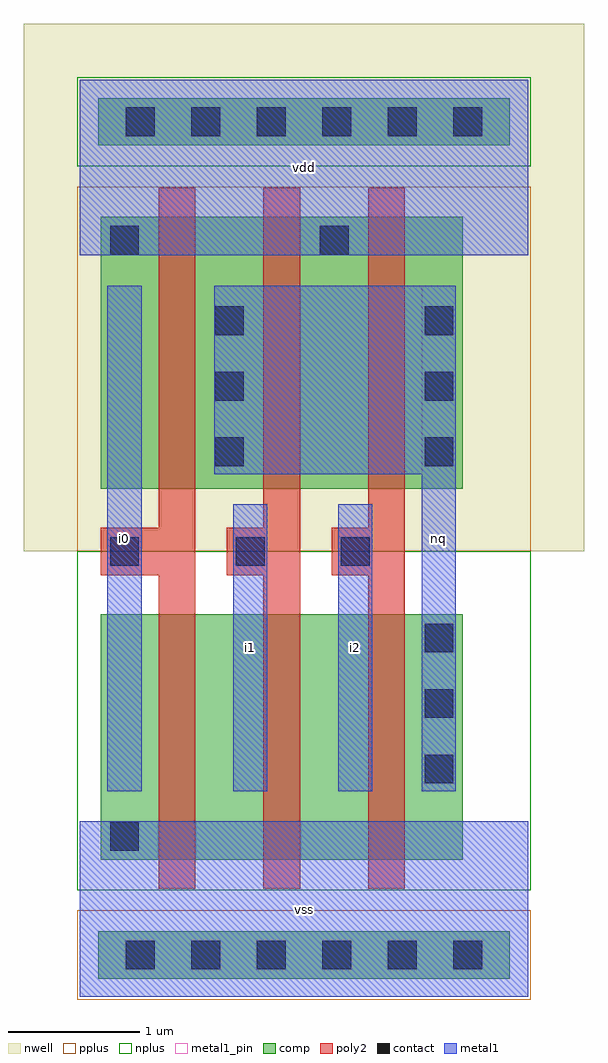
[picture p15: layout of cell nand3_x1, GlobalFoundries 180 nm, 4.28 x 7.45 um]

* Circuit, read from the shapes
.subckt nand3_x1 i0 i1 i2 nq vdd vss
XM1 n1 i0 vss vss nfet_03v3 w=1.875u l=0.28u
XM2 n2 i1 n1 vss nfet_03v3 w=1.875u l=0.28u
XM3 nq i2 n2 vss nfet_03v3 w=1.875u l=0.28u
XM4 nq i0 vdd vdd pfet_03v3 w=2.075u l=0.28u
XM5 vdd i1 nq vdd pfet_03v3 w=2.075u l=0.28u
XM6 nq i2 vdd vdd pfet_03v3 w=2.075u l=0.28u
.ends

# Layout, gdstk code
import gdstk
lib = gdstk.Library(unit=1e-6, precision=1e-09)
def R(c, l, rs):  # rectangles x0, y0, x1, y1
    for r in rs: c.add(gdstk.rectangle(r[:2], r[2:], *l))
def A(c, l, x, y, w, h, nx, ny, dx, dy):  # array of equal rectangles
    R(c, l, [(x+i*dx, y+j*dy, x+i*dx+w, y+j*dy+h) for i in range(nx) for j in range(ny)])
def P(c, l, *ps):  # polygons
    for p in ps: c.add(gdstk.Polygon(p, *l))
nwell = (21, 0)
comp = (22, 0)
poly2 = (30, 0)
pplus = (31, 0)
nplus = (32, 0)
contact = (33, 0)
metal1 = (34, 0)
metal1_pin = (34, 10)

nand3_x1 = lib.new_cell('nand3_x1')
R(nand3_x1, nwell, [(-0.43,3.4,3.85,7.43)])
R(nand3_x1, comp, [(0.14,0.14,3.28,0.5), (0.16,1.045,2.92,2.92), (0.16,3.88,2.92,5.955), (0.14,6.5,3.28,6.86)])
P(nand3_x1, poly2, [(0.6,0.825),(0.6,3.22),(0.16,3.22),(0.16,3.58),(0.6,3.58),(0.6,6.175),(0.88,6.175),(0.88,0.825)],
  [(1.4,0.825),(1.4,3.22),(1.12,3.22),(1.12,3.58),(1.4,3.58),(1.4,6.175),(1.68,6.175),(1.68,0.825)],
  [(2.2,0.825),(2.2,3.22),(1.92,3.22),(1.92,3.58),(2.2,3.58),(2.2,6.175),(2.48,6.175),(2.48,0.825)])
R(nand3_x1, pplus, [(-0.02,-0.02,3.44,0.66), (-0.02,3.4,3.44,6.185)])
R(nand3_x1, nplus, [(-0.02,0.815,3.44,3.4), (-0.02,6.34,3.44,7.02)])
A(nand3_x1, contact, 0.35, 0.21, 0.22, 0.22, 6, 2, 0.5, 6.36)
A(nand3_x1, contact, 2.63, 1.63, 0.22, 0.22, 1, 3, 0, 0.5)
A(nand3_x1, contact, 1.03, 4.05, 0.22, 0.22, 1, 3, 0, 0.5)
A(nand3_x1, contact, 2.63, 4.05, 0.22, 0.22, 1, 3, 0, 0.5)
R(nand3_x1, contact, [(0.23,1.115,0.45,1.335), (0.23,3.29,0.45,3.51), (1.19,3.29,1.41,3.51), (1.99,3.29,2.21,3.51), (0.23,5.665,0.45,5.885), (1.83,5.665,2.05,5.885)])
R(nand3_x1, metal1, [(0,0,3.42,1.34), (0.21,1.57,0.47,5.43), (1.17,1.57,1.43,3.76), (1.97,1.57,2.23,3.76), (0,5.66,3.42,7)])
P(nand3_x1, metal1, [(2.61,1.57),(2.61,3.99),(1.025,3.99),(1.025,5.43),(2.87,5.43),(2.87,1.57)])
R(nand3_x1, metal1_pin, [(0,0,3.42,1.34), (0.21,1.57,0.47,5.43), (1.17,1.57,1.43,3.76), (1.97,1.57,2.23,3.76), (2.61,1.57,2.87,5.43), (0,5.66,3.42,7)])
nand3_x1.add(gdstk.Label('vss', (1.71,0.67), layer=34, texttype=10))
nand3_x1.add(gdstk.Label('vdd', (1.71,6.33), layer=34, texttype=10))
nand3_x1.add(gdstk.Label('i0', (0.34,3.5), layer=34, texttype=10))
nand3_x1.add(gdstk.Label('nq', (2.74,3.5), layer=34, texttype=10))
nand3_x1.add(gdstk.Label('i1', (1.3,2.665), layer=34, texttype=10))
nand3_x1.add(gdstk.Label('i2', (2.1,2.665), layer=34, texttype=10))

lib.write_gds('nand3_x1.gds')
